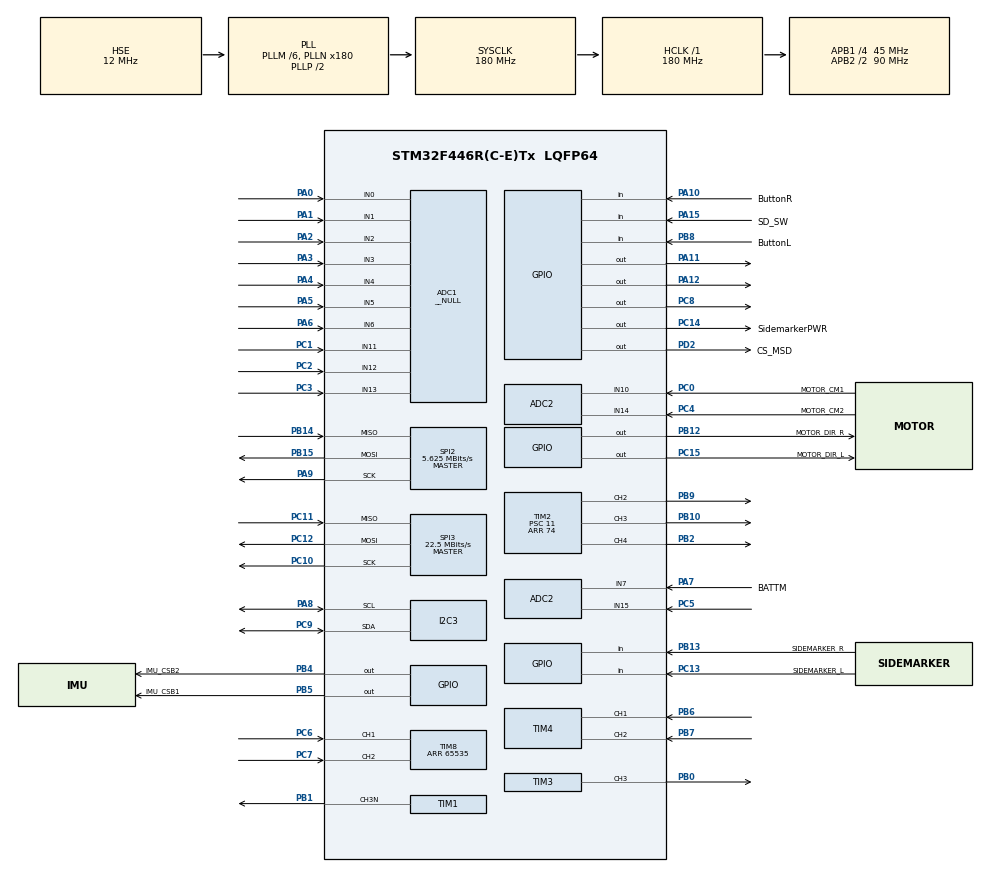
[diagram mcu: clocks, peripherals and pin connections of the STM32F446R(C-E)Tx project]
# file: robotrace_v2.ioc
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ADC1.Channel-0\#ChannelRegularConversion=ADC_CHANNEL_1
ADC1.Channel-1\#ChannelRegularConversion=ADC_CHANNEL_0
ADC1.Channel-10\#ChannelRegularConversion=ADC_CHANNEL_VREFINT
ADC1.Channel-2\#ChannelRegularConversion=ADC_CHANNEL_13
ADC1.Channel-3\#ChannelRegularConversion=ADC_CHANNEL_12
ADC1.Channel-4\#ChannelRegularConversion=ADC_CHANNEL_11
ADC1.Channel-5\#ChannelRegularConversion=ADC_CHANNEL_6
ADC1.Channel-6\#ChannelRegularConversion=ADC_CHANNEL_5
ADC1.Channel-7\#ChannelRegularConversion=ADC_CHANNEL_4
ADC1.Channel-8\#ChannelRegularConversion=ADC_CHANNEL_3
ADC1.Channel-9\#ChannelRegularConversion=ADC_CHANNEL_2
ADC1.ContinuousConvMode=DISABLE
ADC1.DMAContinuousRequests=ENABLE
ADC1.DiscontinuousConvMode=DISABLE
ADC1.EOCSelection=ADC_EOC_SEQ_CONV
ADC1.ExternalTrigConv=ADC_SOFTWARE_START
ADC1.InjNumberOfConversion=0
ADC1.Mode=__NULL
ADC1.NbrOfConversion=11
ADC1.NbrOfConversionFlag=1
ADC1.Rank-0\#ChannelRegularConversion=1
ADC1.Rank-1\#ChannelRegularConversion=2
ADC1.Rank-10\#ChannelRegularConversion=11
ADC1.Rank-2\#ChannelRegularConversion=3
ADC1.Rank-3\#ChannelRegularConversion=4
ADC1.Rank-4\#ChannelRegularConversion=5
ADC1.Rank-5\#ChannelRegularConversion=6
ADC1.Rank-6\#ChannelRegularConversion=7
ADC1.Rank-7\#ChannelRegularConversion=8
ADC1.Rank-8\#ChannelRegularConversion=9
ADC1.Rank-9\#ChannelRegularConversion=10
ADC1.SamplingTime-0\#ChannelRegularConversion=ADC_SAMPLETIME_15CYCLES
ADC1.SamplingTime-1\#ChannelRegularConversion=ADC_SAMPLETIME_15CYCLES
ADC1.SamplingTime-10\#ChannelRegularConversion=ADC_SAMPLETIME_480CYCLES
ADC1.SamplingTime-2\#ChannelRegularConversion=ADC_SAMPLETIME_15CYCLES
ADC1.SamplingTime-3\#ChannelRegularConversion=ADC_SAMPLETIME_15CYCLES
ADC1.SamplingTime-4\#ChannelRegularConversion=ADC_SAMPLETIME_15CYCLES
ADC1.SamplingTime-5\#ChannelRegularConversion=ADC_SAMPLETIME_15CYCLES
ADC1.SamplingTime-6\#ChannelRegularConversion=ADC_SAMPLETIME_15CYCLES
ADC1.SamplingTime-7\#ChannelRegularConversion=ADC_SAMPLETIME_15CYCLES
ADC1.SamplingTime-8\#ChannelRegularConversion=ADC_SAMPLETIME_15CYCLES
ADC1.SamplingTime-9\#ChannelRegularConversion=ADC_SAMPLETIME_15CYCLES
ADC1.ScanConvMode=ENABLE
ADC1.master=1
ADC2.Channel-0\#ChannelRegularConversion=ADC_CHANNEL_10
ADC2.Channel-1\#ChannelRegularConversion=ADC_CHANNEL_14
ADC2.Channel-2\#ChannelRegularConversion=ADC_CHANNEL_7
ADC2.Channel-3\#ChannelRegularConversion=ADC_CHANNEL_15
ADC2.ContinuousConvMode=ENABLE
ADC2.DMAContinuousRequests=ENABLE
ADC2.NbrOfConversion=4
ADC2.NbrOfConversionFlag=1
ADC2.Rank-0\#ChannelRegularConversion=1
ADC2.Rank-1\#ChannelRegularConversion=2
ADC2.Rank-2\#ChannelRegularConversion=3
ADC2.Rank-3\#ChannelRegularConversion=4
ADC2.SamplingTime-0\#ChannelRegularConversion=ADC_SAMPLETIME_480CYCLES
ADC2.SamplingTime-1\#ChannelRegularConversion=ADC_SAMPLETIME_480CYCLES
ADC2.SamplingTime-2\#ChannelRegularConversion=ADC_SAMPLETIME_480CYCLES
ADC2.SamplingTime-3\#ChannelRegularConversion=ADC_SAMPLETIME_480CYCLES
ADC2.ScanConvMode=ENABLE
Dma.ADC1.2.Direction=DMA_PERIPH_TO_MEMORY
Dma.ADC1.2.FIFOMode=DMA_FIFOMODE_DISABLE
Dma.ADC1.2.Instance=DMA2_Stream0
Dma.ADC1.2.MemDataAlignment=DMA_MDATAALIGN_HALFWORD
Dma.ADC1.2.MemInc=DMA_MINC_ENABLE
Dma.ADC1.2.Mode=DMA_NORMAL
Dma.ADC1.2.PeriphDataAlignment=DMA_PDATAALIGN_HALFWORD
Dma.ADC1.2.PeriphInc=DMA_PINC_DISABLE
Dma.ADC1.2.Priority=DMA_PRIORITY_HIGH
Dma.ADC2.0.Direction=DMA_PERIPH_TO_MEMORY
Dma.ADC2.0.FIFOMode=DMA_FIFOMODE_DISABLE
Dma.ADC2.0.Instance=DMA2_Stream2
Dma.ADC2.0.MemDataAlignment=DMA_MDATAALIGN_HALFWORD
Dma.ADC2.0.MemInc=DMA_MINC_ENABLE
Dma.ADC2.0.Mode=DMA_CIRCULAR
Dma.ADC2.0.PeriphDataAlignment=DMA_PDATAALIGN_HALFWORD
Dma.ADC2.0.PeriphInc=DMA_PINC_DISABLE
Dma.ADC2.0.Priority=DMA_PRIORITY_MEDIUM
Dma.I2C3_TX.5.Direction=DMA_MEMORY_TO_PERIPH
Dma.I2C3_TX.5.FIFOMode=DMA_FIFOMODE_DISABLE
Dma.I2C3_TX.5.Instance=DMA1_Stream4
Dma.I2C3_TX.5.MemDataAlignment=DMA_MDATAALIGN_BYTE
Dma.I2C3_TX.5.MemInc=DMA_MINC_ENABLE
Dma.I2C3_TX.5.Mode=DMA_NORMAL
Dma.I2C3_TX.5.PeriphDataAlignment=DMA_PDATAALIGN_BYTE
Dma.I2C3_TX.5.PeriphInc=DMA_PINC_DISABLE
Dma.I2C3_TX.5.Priority=DMA_PRIORITY_LOW
Dma.Request0=ADC2
Dma.Request1=TIM1_CH3
Dma.Request2=ADC1
Dma.Request3=SPI3_RX
Dma.Request4=SPI3_TX
Dma.Request5=I2C3_TX
Dma.SPI3_RX.3.Direction=DMA_PERIPH_TO_MEMORY
Dma.SPI3_RX.3.FIFOMode=DMA_FIFOMODE_DISABLE
Dma.SPI3_RX.3.Instance=DMA1_Stream0
Dma.SPI3_RX.3.MemDataAlignment=DMA_MDATAALIGN_BYTE
Dma.SPI3_RX.3.MemInc=DMA_MINC_ENABLE
Dma.SPI3_RX.3.Mode=DMA_NORMAL
Dma.SPI3_RX.3.PeriphDataAlignment=DMA_PDATAALIGN_BYTE
Dma.SPI3_RX.3.PeriphInc=DMA_PINC_DISABLE
Dma.SPI3_RX.3.Priority=DMA_PRIORITY_LOW
Dma.SPI3_TX.4.Direction=DMA_MEMORY_TO_PERIPH
Dma.SPI3_TX.4.FIFOMode=DMA_FIFOMODE_DISABLE
Dma.SPI3_TX.4.Instance=DMA1_Stream5
Dma.SPI3_TX.4.MemDataAlignment=DMA_MDATAALIGN_BYTE
Dma.SPI3_TX.4.MemInc=DMA_MINC_ENABLE
Dma.SPI3_TX.4.Mode=DMA_NORMAL
Dma.SPI3_TX.4.PeriphDataAlignment=DMA_PDATAALIGN_BYTE
Dma.SPI3_TX.4.PeriphInc=DMA_PINC_DISABLE
Dma.SPI3_TX.4.Priority=DMA_PRIORITY_LOW
Dma.TIM1_CH3.1.Direction=DMA_MEMORY_TO_PERIPH
Dma.TIM1_CH3.1.FIFOMode=DMA_FIFOMODE_DISABLE
Dma.TIM1_CH3.1.Instance=DMA2_Stream6
Dma.TIM1_CH3.1.MemDataAlignment=DMA_MDATAALIGN_HALFWORD
Dma.TIM1_CH3.1.MemInc=DMA_MINC_ENABLE
Dma.TIM1_CH3.1.Mode=DMA_CIRCULAR
Dma.TIM1_CH3.1.PeriphDataAlignment=DMA_PDATAALIGN_HALFWORD
Dma.TIM1_CH3.1.PeriphInc=DMA_PINC_DISABLE
Dma.TIM1_CH3.1.Priority=DMA_PRIORITY_LOW
FATFS._FS_EXFAT=1
FATFS._FS_LOCK=255
FATFS._FS_RPATH=1
FATFS._MAX_SS=4096
FATFS._USE_LABEL=1
FATFS._USE_LFN=3
Mcu.Family=STM32F4
Mcu.Name=STM32F446R(C-E)Tx
Mcu.Package=LQFP64
NVIC.DMA1_Stream0_IRQn=true\:5\:0\:true\:false\:true\:false\:true\:true
NVIC.DMA1_Stream4_IRQn=true\:15\:0\:true\:false\:true\:false\:true\:true
NVIC.DMA1_Stream5_IRQn=true\:5\:0\:true\:false\:true\:false\:true\:true
NVIC.DMA2_Stream0_IRQn=true\:2\:0\:true\:false\:true\:false\:true\:true
NVIC.DMA2_Stream2_IRQn=true\:2\:0\:true\:false\:true\:false\:true\:true
NVIC.DMA2_Stream6_IRQn=true\:15\:0\:true\:false\:true\:false\:true\:true
NVIC.I2C3_EV_IRQn=true\:15\:0\:true\:false\:true\:true\:true\:true
NVIC.PriorityGroup=NVIC_PRIORITYGROUP_4
NVIC.TIM3_IRQn=true\:1\:0\:true\:false\:true\:true\:true\:true
NVIC.TIM6_DAC_IRQn=true\:0\:0\:true\:false\:true\:true\:true\:true
NVIC.TIM7_IRQn=true\:10\:0\:true\:false\:true\:true\:true\:true
PA0-WKUP.Signal=ADCx_IN0
PA1.Signal=ADCx_IN1
PA10.GPIO_Label=ButtonR
PA10.GPIO_PuPd=GPIO_PULLUP
PA10.Signal=GPIO_Input
PA11.PinState=GPIO_PIN_SET
PA11.Signal=GPIO_Output
PA12.PinState=GPIO_PIN_SET
PA12.Signal=GPIO_Output
PA13.Mode=Trace_Asynchronous_SW
PA13.Signal=SYS_JTMS-SWDIO
PA14.Mode=Trace_Asynchronous_SW
PA14.Signal=SYS_JTCK-SWCLK
PA15.GPIO_Label=SD_SW
PA15.GPIO_PuPd=GPIO_PULLDOWN
PA15.Signal=GPIO_Input
PA2.Signal=ADCx_IN2
PA3.Signal=ADCx_IN3
PA4.Signal=ADCx_IN4
PA5.Signal=ADCx_IN5
PA6.Signal=ADCx_IN6
PA7.GPIO_Label=BATTM
PA7.Signal=ADCx_IN7
PA8.Mode=I2C
PA8.Signal=I2C3_SCL
PA9.Mode=Full_Duplex_Master
PA9.Signal=SPI2_SCK
PB0.Signal=S_TIM3_CH3
PB1.GPIO_PuPd=GPIO_PULLDOWN
PB1.GPIO_Speed=GPIO_SPEED_FREQ_HIGH
PB1.Mode=PWM Generation3 CH3N
PB1.Signal=TIM1_CH3N
PB10.Signal=S_TIM2_CH3
PB12.GPIO_Label=MOTOR_DIR_R
PB12.Signal=GPIO_Output
PB13.GPIO_Label=SIDEMARKER_R
PB13.Signal=GPIO_Input
PB14.Mode=Full_Duplex_Master
PB14.Signal=SPI2_MISO
PB15.Mode=Full_Duplex_Master
PB15.Signal=SPI2_MOSI
PB2.Signal=S_TIM2_CH4
PB3.Mode=Trace_Asynchronous_SW
PB3.Signal=SYS_JTDO-SWO
PB4.GPIO_Label=IMU_CSB2
PB4.GPIO_PuPd=GPIO_PULLUP
PB4.GPIO_Speed=GPIO_SPEED_FREQ_VERY_HIGH
PB4.PinState=GPIO_PIN_SET
PB4.Signal=GPIO_Output
PB5.GPIO_Label=IMU_CSB1
PB5.GPIO_PuPd=GPIO_PULLUP
PB5.GPIO_Speed=GPIO_SPEED_FREQ_VERY_HIGH
PB5.PinState=GPIO_PIN_SET
PB5.Signal=GPIO_Output
PB6.Signal=S_TIM4_CH1
PB7.Signal=S_TIM4_CH2
PB8.GPIO_Label=ButtonL
PB8.GPIO_PuPd=GPIO_PULLUP
PB8.Signal=GPIO_Input
PB9.Signal=S_TIM2_CH2
PC0.GPIO_Label=MOTOR_CM1
PC0.Signal=ADCx_IN10
PC1.Signal=ADCx_IN11
PC10.Mode=Full_Duplex_Master
PC10.Signal=SPI3_SCK
PC11.Mode=Full_Duplex_Master
PC11.Signal=SPI3_MISO
PC12.Mode=Full_Duplex_Master
PC12.Signal=SPI3_MOSI
PC13.GPIO_Label=SIDEMARKER_L
PC13.Signal=GPIO_Input
PC14-OSC32_IN.GPIO_Label=SidemarkerPWR
PC14-OSC32_IN.PinState=GPIO_PIN_SET
PC14-OSC32_IN.Signal=GPIO_Output
PC15-OSC32_OUT.GPIO_Label=MOTOR_DIR_L
PC15-OSC32_OUT.Signal=GPIO_Output
PC2.Signal=ADCx_IN12
PC3.Signal=ADCx_IN13
PC4.GPIO_Label=MOTOR_CM2
PC4.Signal=ADCx_IN14
PC5.Signal=ADCx_IN15
PC6.Signal=S_TIM8_CH1
PC7.Signal=S_TIM8_CH2
PC8.Signal=GPIO_Output
PC9.Mode=I2C
PC9.Signal=I2C3_SDA
PD2.GPIO_Label=CS_MSD
PD2.GPIO_Speed=GPIO_SPEED_FREQ_VERY_HIGH
PD2.PinState=GPIO_PIN_SET
PD2.Signal=GPIO_Output
PH0-OSC_IN.Mode=HSE-External-Oscillator
PH0-OSC_IN.Signal=RCC_OSC_IN
PH1-OSC_OUT.Mode=HSE-External-Oscillator
PH1-OSC_OUT.Signal=RCC_OSC_OUT
ProjectManager.HeapSize=0x200
ProjectManager.StackSize=0x400
ProjectManager.TargetToolchain=CMake
RCC.AHBFreq_Value=180000000
RCC.APB1CLKDivider=RCC_HCLK_DIV4
RCC.APB1Freq_Value=45000000
RCC.APB1TimFreq_Value=90000000
RCC.APB2CLKDivider=RCC_HCLK_DIV2
RCC.APB2Freq_Value=90000000
RCC.APB2TimFreq_Value=180000000
RCC.CortexFreq_Value=180000000
RCC.HCLKFreq_Value=180000000
RCC.HSE_VALUE=12000000
RCC.PLLM=6
RCC.PLLN=180
RCC.PLLSourceVirtual=RCC_PLLSOURCE_HSE
RCC.SYSCLKFreq_VALUE=180000000
RCC.SYSCLKSource=RCC_SYSCLKSOURCE_PLLCLK
RCC.USBFreq_Value=180000000
RCC.VCOOutputFreq_Value=360000000
SH.ADCx_IN0.0=ADC1_IN0,IN0
SH.ADCx_IN1.0=ADC1_IN1,IN1
SH.ADCx_IN10.0=ADC2_IN10,IN10
SH.ADCx_IN11.0=ADC1_IN11,IN11
SH.ADCx_IN12.0=ADC1_IN12,IN12
SH.ADCx_IN13.0=ADC1_IN13,IN13
SH.ADCx_IN14.0=ADC2_IN14,IN14
SH.ADCx_IN15.0=ADC2_IN15,IN15
SH.ADCx_IN2.0=ADC1_IN2,IN2
SH.ADCx_IN3.0=ADC1_IN3,IN3
SH.ADCx_IN4.0=ADC1_IN4,IN4
SH.ADCx_IN5.0=ADC1_IN5,IN5
SH.ADCx_IN6.0=ADC1_IN6,IN6
SH.ADCx_IN7.0=ADC2_IN7,IN7
SH.S_TIM2_CH2.0=TIM2_CH2,PWM Generation2 CH2
SH.S_TIM2_CH3.0=TIM2_CH3,PWM Generation3 CH3
SH.S_TIM2_CH4.0=TIM2_CH4,PWM Generation4 CH4
SH.S_TIM3_CH3.0=TIM3_CH3,PWM Generation3 CH3
SH.S_TIM4_CH1.0=TIM4_CH1,Encoder_Interface
SH.S_TIM4_CH2.0=TIM4_CH2,Encoder_Interface
SH.S_TIM8_CH1.0=TIM8_CH1,Encoder_Interface
SH.S_TIM8_CH2.0=TIM8_CH2,Encoder_Interface
SPI2.BaudRatePrescaler=SPI_BAUDRATEPRESCALER_8
SPI2.CLKPhase=SPI_PHASE_1EDGE
SPI2.CLKPolarity=SPI_POLARITY_LOW
SPI2.CalculateBaudRate=5.625 MBits/s
SPI2.Direction=SPI_DIRECTION_2LINES
SPI2.Mode=SPI_MODE_MASTER
SPI2.VirtualType=VM_MASTER
SPI3.CalculateBaudRate=22.5 MBits/s
SPI3.Direction=SPI_DIRECTION_2LINES
SPI3.Mode=SPI_MODE_MASTER
SPI3.VirtualType=VM_MASTER
TIM1.AutoReloadPreload=TIM_AUTORELOAD_PRELOAD_DISABLE
TIM1.Channel-PWM\ Generation3\ CH3N=TIM_CHANNEL_3
TIM1.OC3Preload_PWM=ENABLE
TIM1.OCFastMode_PWM-PWM\ Generation3\ CH3N=TIM_OCFAST_DISABLE
TIM1.OCMode_PWM-PWM\ Generation3\ CH3N=TIM_OCMODE_PWM1
TIM1.OCNIdleState_3=TIM_OCNIDLESTATE_SET
TIM1.OCNPolarity_3=TIM_OCNPOLARITY_HIGH
TIM1.Period=224
TIM1.Prescaler=0
TIM1.TIM_MasterOutputTrigger=TIM_TRGO_RESET
TIM1.TIM_MasterSlaveMode=TIM_MASTERSLAVEMODE_DISABLE
TIM13.Period=1124
TIM13.Prescaler=11
TIM2.Channel-PWM\ Generation2\ CH2=TIM_CHANNEL_2
TIM2.Channel-PWM\ Generation3\ CH3=TIM_CHANNEL_3
TIM2.Channel-PWM\ Generation4\ CH4=TIM_CHANNEL_4
TIM2.Period=74
TIM2.Prescaler=11
TIM3.Channel-Output\ Compare1\ No\ Output=TIM_CHANNEL_1
TIM3.Channel-PWM\ Generation3\ CH3=TIM_CHANNEL_3
TIM3.Period=3749
TIM3.Prescaler=11
TIM4.EncoderMode=TIM_ENCODERMODE_TI12
TIM6.AutoReloadPreload=TIM_AUTORELOAD_PRELOAD_ENABLE
TIM6.Period=7499
TIM6.Prescaler=11
TIM7.Period=3749
TIM7.Prescaler=11
TIM8.EncoderMode=TIM_ENCODERMODE_TI12
TIM8.Period=65535
VP_ADC1_Vref_Input.Mode=IN-Vrefint
VP_FATFS_VS_Generic.Mode=User_defined
VP_TIM13_VS_ClockSourceINT.Mode=Enable_Timer
VP_TIM3_VS_no_output1.Mode=Output Compare1 No Output
VP_TIM6_VS_ClockSourceINT.Mode=Enable_Timer
VP_TIM7_VS_ClockSourceINT.Mode=Enable_Timer
board=custom

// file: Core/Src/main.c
/* USER CODE BEGIN Header */
/**
 ******************************************************************************
 * @file           : main.c
 * @brief          : Main program body
 ******************************************************************************
 * @attention
 *
 * Copyright (c) 2023 STMicroelectronics.
 * All rights reserved.
 *
 * This software is licensed under terms that can be found in the LICENSE file
 * in the root directory of this software component.
 * If no LICENSE file comes with this software, it is provided AS-IS.
 *
 ******************************************************************************
 */
/* USER CODE END Header */
#include "main.h"
#include "fatfs.h"

ADC_HandleTypeDef hadc1;
ADC_HandleTypeDef hadc2;
DMA_HandleTypeDef hdma_adc1;
DMA_HandleTypeDef hdma_adc2;

I2C_HandleTypeDef hi2c3;
DMA_HandleTypeDef hdma_i2c3_tx;

SPI_HandleTypeDef hspi2;
SPI_HandleTypeDef hspi3;
DMA_HandleTypeDef hdma_spi3_rx;
DMA_HandleTypeDef hdma_spi3_tx;

TIM_HandleTypeDef htim1;
TIM_HandleTypeDef htim2;
TIM_HandleTypeDef htim3;
TIM_HandleTypeDef htim4;
TIM_HandleTypeDef htim6;
TIM_HandleTypeDef htim7;
TIM_HandleTypeDef htim8;
TIM_HandleTypeDef htim13;
DMA_HandleTypeDef hdma_tim1_ch3;

void SystemClock_Config(void);
static void MX_GPIO_Init(void);
static void MX_DMA_Init(void);
static void MX_ADC1_Init(void);
static void MX_TIM6_Init(void);
static void MX_SPI3_Init(void);
static void MX_TIM3_Init(void);
static void MX_TIM2_Init(void);
static void MX_TIM8_Init(void);
static void MX_TIM13_Init(void);
static void MX_TIM7_Init(void);
static void MX_ADC2_Init(void);
static void MX_SPI2_Init(void);
static void MX_TIM1_Init(void);
static void MX_TIM4_Init(void);
static void MX_I2C3_Init(void);
/* USER CODE BEGIN PFP */
uint8_t bufr[80];
UINT br;
/* USER CODE END PFP */

int main(void)
{

  /* MCU Configuration--------------------------------------------------------*/

  /* Reset of all peripherals, Initializes the Flash interface and the Systick. */
  HAL_Init();

  /* Configure the system clock */
  SystemClock_Config();

  /* Initialize all configured peripherals */
  MX_GPIO_Init();
  MX_DMA_Init();
  MX_ADC1_Init();
  MX_TIM6_Init();
  MX_SPI3_Init();
  MX_TIM3_Init();
  MX_TIM2_Init();
  MX_TIM8_Init();
  MX_TIM13_Init();
  MX_TIM7_Init();
  MX_ADC2_Init();
  MX_SPI2_Init();
  MX_TIM1_Init();
  MX_TIM4_Init();
  MX_I2C3_Init();
  /* USER CODE BEGIN 2 */
	initSystem();
  /* USER CODE END 2 */

  /* Infinite loop */
  /* USER CODE BEGIN WHILE */
	while (1)
	{
		loopSystem();
    /* USER CODE END WHILE */

	}
}

void SystemClock_Config(void)
{
  RCC_OscInitTypeDef RCC_OscInitStruct = {0};
  RCC_ClkInitTypeDef RCC_ClkInitStruct = {0};

  /** Configure the main internal regulator output voltage
  */
  __HAL_RCC_PWR_CLK_ENABLE();
  __HAL_PWR_VOLTAGESCALING_CONFIG(PWR_REGULATOR_VOLTAGE_SCALE1);

  /** Initializes the RCC Oscillators according to the specified parameters
  * in the RCC_OscInitTypeDef structure.
  */
  RCC_OscInitStruct.OscillatorType = RCC_OSCILLATORTYPE_HSE;
  RCC_OscInitStruct.HSEState = RCC_HSE_ON;
  RCC_OscInitStruct.PLL.PLLState = RCC_PLL_ON;
  RCC_OscInitStruct.PLL.PLLSource = RCC_PLLSOURCE_HSE;
  RCC_OscInitStruct.PLL.PLLM = 6;
  RCC_OscInitStruct.PLL.PLLN = 180;
  RCC_OscInitStruct.PLL.PLLP = RCC_PLLP_DIV2;
  RCC_OscInitStruct.PLL.PLLQ = 2;
  RCC_OscInitStruct.PLL.PLLR = 2;
  if (HAL_RCC_OscConfig(&RCC_OscInitStruct) != HAL_OK)
  {
    Error_Handler();
  }

  /** Activate the Over-Drive mode
  */
  if (HAL_PWREx_EnableOverDrive() != HAL_OK)
  {
    Error_Handler();
  }

  /** Initializes the CPU, AHB and APB buses clocks
  */
  RCC_ClkInitStruct.ClockType = RCC_CLOCKTYPE_HCLK|RCC_CLOCKTYPE_SYSCLK
                              |RCC_CLOCKTYPE_PCLK1|RCC_CLOCKTYPE_PCLK2;
  RCC_ClkInitStruct.SYSCLKSource = RCC_SYSCLKSOURCE_PLLCLK;
  RCC_ClkInitStruct.AHBCLKDivider = RCC_SYSCLK_DIV1;
  RCC_ClkInitStruct.APB1CLKDivider = RCC_HCLK_DIV4;
  RCC_ClkInitStruct.APB2CLKDivider = RCC_HCLK_DIV2;

  if (HAL_RCC_ClockConfig(&RCC_ClkInitStruct, FLASH_LATENCY_5) != HAL_OK)
  {
    Error_Handler();
  }
}

static void MX_ADC1_Init(void)
{

  ADC_ChannelConfTypeDef sConfig = {0};

  /** Configure the global features of the ADC (Clock, Resolution, Data Alignment and number of conversion)
  */
  hadc1.Instance = ADC1;
  hadc1.Init.ClockPrescaler = ADC_CLOCK_SYNC_PCLK_DIV4;
  hadc1.Init.Resolution = ADC_RESOLUTION_12B;
  hadc1.Init.ScanConvMode = ENABLE;
  hadc1.Init.ContinuousConvMode = DISABLE;
  hadc1.Init.DiscontinuousConvMode = DISABLE;
  hadc1.Init.ExternalTrigConvEdge = ADC_EXTERNALTRIGCONVEDGE_NONE;
  hadc1.Init.ExternalTrigConv = ADC_SOFTWARE_START;
  hadc1.Init.DataAlign = ADC_DATAALIGN_RIGHT;
  hadc1.Init.NbrOfConversion = 11;
  hadc1.Init.DMAContinuousRequests = ENABLE;
  hadc1.Init.EOCSelection = ADC_EOC_SEQ_CONV;
  if (HAL_ADC_Init(&hadc1) != HAL_OK)
  {
    Error_Handler();
  }

  /** Configure for the selected ADC regular channel its corresponding rank in the sequencer and its sample time.
  */
  sConfig.Channel = ADC_CHANNEL_1;
  sConfig.Rank = 1;
  sConfig.SamplingTime = ADC_SAMPLETIME_15CYCLES;
  if (HAL_ADC_ConfigChannel(&hadc1, &sConfig) != HAL_OK)
  {
    Error_Handler();
  }

  /** Configure for the selected ADC regular channel its corresponding rank in the sequencer and its sample time.
  */
  sConfig.Channel = ADC_CHANNEL_0;
  sConfig.Rank = 2;
  if (HAL_ADC_ConfigChannel(&hadc1, &sConfig) != HAL_OK)
  {
    Error_Handler();
  }

  /** Configure for the selected ADC regular channel its corresponding rank in the sequencer and its sample time.
  */
  sConfig.Channel = ADC_CHANNEL_13;
  sConfig.Rank = 3;
  if (HAL_ADC_ConfigChannel(&hadc1, &sConfig) != HAL_OK)
  {
    Error_Handler();
  }

  /** Configure for the selected ADC regular channel its corresponding rank in the sequencer and its sample time.
  */
  sConfig.Channel = ADC_CHANNEL_12;
  sConfig.Rank = 4;
  if (HAL_ADC_ConfigChannel(&hadc1, &sConfig) != HAL_OK)
  {
    Error_Handler();
  }

  /** Configure for the selected ADC regular channel its corresponding rank in the sequencer and its sample time.
  */
  sConfig.Channel = ADC_CHANNEL_11;
  sConfig.Rank = 5;
  if (HAL_ADC_ConfigChannel(&hadc1, &sConfig) != HAL_OK)
  {
    Error_Handler();
  }

  /** Configure for the selected ADC regular channel its corresponding rank in the sequencer and its sample time.
  */
  sConfig.Channel = ADC_CHANNEL_6;
  sConfig.Rank = 6;
  if (HAL_ADC_ConfigChannel(&hadc1, &sConfig) != HAL_OK)
  {
    Error_Handler();
  }

  /** Configure for the selected ADC regular channel its corresponding rank in the sequencer and its sample time.
  */
  sConfig.Channel = ADC_CHANNEL_5;
  sConfig.Rank = 7;
  if (HAL_ADC_ConfigChannel(&hadc1, &sConfig) != HAL_OK)
  {
    Error_Handler();
  }

  /** Configure for the selected ADC regular channel its corresponding rank in the sequencer and its sample time.
  */
  sConfig.Channel = ADC_CHANNEL_4;
  sConfig.Rank = 8;
  if (HAL_ADC_ConfigChannel(&hadc1, &sConfig) != HAL_OK)
  {
    Error_Handler();
  }

  /** Configure for the selected ADC regular channel its corresponding rank in the sequencer and its sample time.
  */
  sConfig.Channel = ADC_CHANNEL_3;
  sConfig.Rank = 9;
  if (HAL_ADC_ConfigChannel(&hadc1, &sConfig) != HAL_OK)
  {
    Error_Handler();
  }

  /** Configure for the selected ADC regular channel its corresponding rank in the sequencer and its sample time.
  */
  sConfig.Channel = ADC_CHANNEL_2;
  sConfig.Rank = 10;
  if (HAL_ADC_ConfigChannel(&hadc1, &sConfig) != HAL_OK)
  {
    Error_Handler();
  }

  /** Configure for the selected ADC regular channel its corresponding rank in the sequencer and its sample time.
  */
  sConfig.Channel = ADC_CHANNEL_VREFINT;
  sConfig.Rank = 11;
  sConfig.SamplingTime = ADC_SAMPLETIME_480CYCLES;
  if (HAL_ADC_ConfigChannel(&hadc1, &sConfig) != HAL_OK)
  {
    Error_Handler();
  }

}

static void MX_ADC2_Init(void)
{

  ADC_ChannelConfTypeDef sConfig = {0};

  /** Configure the global features of the ADC (Clock, Resolution, Data Alignment and number of conversion)
  */
  hadc2.Instance = ADC2;
  hadc2.Init.ClockPrescaler = ADC_CLOCK_SYNC_PCLK_DIV4;
  hadc2.Init.Resolution = ADC_RESOLUTION_12B;
  hadc2.Init.ScanConvMode = ENABLE;
  hadc2.Init.ContinuousConvMode = ENABLE;
  hadc2.Init.DiscontinuousConvMode = DISABLE;
  hadc2.Init.ExternalTrigConvEdge = ADC_EXTERNALTRIGCONVEDGE_NONE;
  hadc2.Init.ExternalTrigConv = ADC_SOFTWARE_START;
  hadc2.Init.DataAlign = ADC_DATAALIGN_RIGHT;
  hadc2.Init.NbrOfConversion = 4;
  hadc2.Init.DMAContinuousRequests = ENABLE;
  hadc2.Init.EOCSelection = ADC_EOC_SINGLE_CONV;
  if (HAL_ADC_Init(&hadc2) != HAL_OK)
  {
    Error_Handler();
  }

  /** Configure for the selected ADC regular channel its corresponding rank in the sequencer and its sample time.
  */
  sConfig.Channel = ADC_CHANNEL_10;
  sConfig.Rank = 1;
  sConfig.SamplingTime = ADC_SAMPLETIME_480CYCLES;
  if (HAL_ADC_ConfigChannel(&hadc2, &sConfig) != HAL_OK)
  {
    Error_Handler();
  }

  /** Configure for the selected ADC regular channel its corresponding rank in the sequencer and its sample time.
  */
  sConfig.Channel = ADC_CHANNEL_14;
  sConfig.Rank = 2;
  if (HAL_ADC_ConfigChannel(&hadc2, &sConfig) != HAL_OK)
  {
    Error_Handler();
  }

  /** Configure for the selected ADC regular channel its corresponding rank in the sequencer and its sample time.
  */
  sConfig.Channel = ADC_CHANNEL_7;
  sConfig.Rank = 3;
  if (HAL_ADC_ConfigChannel(&hadc2, &sConfig) != HAL_OK)
  {
    Error_Handler();
  }

  /** Configure for the selected ADC regular channel its corresponding rank in the sequencer and its sample time.
  */
  sConfig.Channel = ADC_CHANNEL_15;
  sConfig.Rank = 4;
  if (HAL_ADC_ConfigChannel(&hadc2, &sConfig) != HAL_OK)
  {
    Error_Handler();
  }

}

static void MX_I2C3_Init(void)
{

  hi2c3.Instance = I2C3;
  hi2c3.Init.ClockSpeed = 100000;
  hi2c3.Init.DutyCycle = I2C_DUTYCYCLE_2;
  hi2c3.Init.OwnAddress1 = 0;
  hi2c3.Init.AddressingMode = I2C_ADDRESSINGMODE_7BIT;
  hi2c3.Init.DualAddressMode = I2C_DUALADDRESS_DISABLE;
  hi2c3.Init.OwnAddress2 = 0;
  hi2c3.Init.GeneralCallMode = I2C_GENERALCALL_DISABLE;
  hi2c3.Init.NoStretchMode = I2C_NOSTRETCH_DISABLE;
  if (HAL_I2C_Init(&hi2c3) != HAL_OK)
  {
    Error_Handler();
  }

}

static void MX_SPI2_Init(void)
{

  /* SPI2 parameter configuration*/
  hspi2.Instance = SPI2;
  hspi2.Init.Mode = SPI_MODE_MASTER;
  hspi2.Init.Direction = SPI_DIRECTION_2LINES;
  hspi2.Init.DataSize = SPI_DATASIZE_8BIT;
  hspi2.Init.CLKPolarity = SPI_POLARITY_LOW;
  hspi2.Init.CLKPhase = SPI_PHASE_1EDGE;
  hspi2.Init.NSS = SPI_NSS_SOFT;
  hspi2.Init.BaudRatePrescaler = SPI_BAUDRATEPRESCALER_8;
  hspi2.Init.FirstBit = SPI_FIRSTBIT_MSB;
  hspi2.Init.TIMode = SPI_TIMODE_DISABLE;
  hspi2.Init.CRCCalculation = SPI_CRCCALCULATION_DISABLE;
  hspi2.Init.CRCPolynomial = 10;
  if (HAL_SPI_Init(&hspi2) != HAL_OK)
  {
    Error_Handler();
  }

}

static void MX_SPI3_Init(void)
{

  /* SPI3 parameter configuration*/
  hspi3.Instance = SPI3;
  hspi3.Init.Mode = SPI_MODE_MASTER;
  hspi3.Init.Direction = SPI_DIRECTION_2LINES;
  hspi3.Init.DataSize = SPI_DATASIZE_8BIT;
  hspi3.Init.CLKPolarity = SPI_POLARITY_LOW;
  hspi3.Init.CLKPhase = SPI_PHASE_1EDGE;
  hspi3.Init.NSS = SPI_NSS_SOFT;
  hspi3.Init.BaudRatePrescaler = SPI_BAUDRATEPRESCALER_2;
  hspi3.Init.FirstBit = SPI_FIRSTBIT_MSB;
  hspi3.Init.TIMode = SPI_TIMODE_DISABLE;
  hspi3.Init.CRCCalculation = SPI_CRCCALCULATION_DISABLE;
  hspi3.Init.CRCPolynomial = 10;
  if (HAL_SPI_Init(&hspi3) != HAL_OK)
  {
    Error_Handler();
  }

}

static void MX_TIM1_Init(void)
{

  TIM_MasterConfigTypeDef sMasterConfig = {0};
  TIM_OC_InitTypeDef sConfigOC = {0};
  TIM_BreakDeadTimeConfigTypeDef sBreakDeadTimeConfig = {0};

  htim1.Instance = TIM1;
  htim1.Init.Prescaler = 0;
  htim1.Init.CounterMode = TIM_COUNTERMODE_UP;
  htim1.Init.Period = 224;
  htim1.Init.ClockDivision = TIM_CLOCKDIVISION_DIV1;
  htim1.Init.RepetitionCounter = 0;
  htim1.Init.AutoReloadPreload = TIM_AUTORELOAD_PRELOAD_DISABLE;
  if (HAL_TIM_PWM_Init(&htim1) != HAL_OK)
  {
    Error_Handler();
  }
  sMasterConfig.MasterOutputTrigger = TIM_TRGO_RESET;
  sMasterConfig.MasterSlaveMode = TIM_MASTERSLAVEMODE_DISABLE;
  if (HAL_TIMEx_MasterConfigSynchronization(&htim1, &sMasterConfig) != HAL_OK)
  {
    Error_Handler();
  }
  sConfigOC.OCMode = TIM_OCMODE_PWM1;
  sConfigOC.Pulse = 0;
  sConfigOC.OCPolarity = TIM_OCPOLARITY_HIGH;
  sConfigOC.OCNPolarity = TIM_OCNPOLARITY_HIGH;
  sConfigOC.OCFastMode = TIM_OCFAST_DISABLE;
  sConfigOC.OCIdleState = TIM_OCIDLESTATE_RESET;
  sConfigOC.OCNIdleState = TIM_OCNIDLESTATE_SET;
  if (HAL_TIM_PWM_ConfigChannel(&htim1, &sConfigOC, TIM_CHANNEL_3) != HAL_OK)
  {
    Error_Handler();
  }
  sBreakDeadTimeConfig.OffStateRunMode = TIM_OSSR_DISABLE;
  sBreakDeadTimeConfig.OffStateIDLEMode = TIM_OSSI_DISABLE;
  sBreakDeadTimeConfig.LockLevel = TIM_LOCKLEVEL_OFF;
  sBreakDeadTimeConfig.DeadTime = 0;
  sBreakDeadTimeConfig.BreakState = TIM_BREAK_DISABLE;
  sBreakDeadTimeConfig.BreakPolarity = TIM_BREAKPOLARITY_HIGH;
  sBreakDeadTimeConfig.AutomaticOutput = TIM_AUTOMATICOUTPUT_DISABLE;
  if (HAL_TIMEx_ConfigBreakDeadTime(&htim1, &sBreakDeadTimeConfig) != HAL_OK)
  {
    Error_Handler();
  }
  HAL_TIM_MspPostInit(&htim1);

}

static void MX_TIM2_Init(void)
{

  TIM_MasterConfigTypeDef sMasterConfig = {0};
  TIM_OC_InitTypeDef sConfigOC = {0};

  htim2.Instance = TIM2;
  htim2.Init.Prescaler = 11;
  htim2.Init.CounterMode = TIM_COUNTERMODE_UP;
  htim2.Init.Period = 74;
  htim2.Init.ClockDivision = TIM_CLOCKDIVISION_DIV1;
  htim2.Init.AutoReloadPreload = TIM_AUTORELOAD_PRELOAD_DISABLE;
  if (HAL_TIM_PWM_Init(&htim2) != HAL_OK)
  {
    Error_Handler();
  }
  sMasterConfig.MasterOutputTrigger = TIM_TRGO_RESET;
  sMasterConfig.MasterSlaveMode = TIM_MASTERSLAVEMODE_DISABLE;
  if (HAL_TIMEx_MasterConfigSynchronization(&htim2, &sMasterConfig) != HAL_OK)
  {
    Error_Handler();
  }
  sConfigOC.OCMode = TIM_OCMODE_PWM1;
  sConfigOC.Pulse = 0;
  sConfigOC.OCPolarity = TIM_OCPOLARITY_HIGH;
  sConfigOC.OCFastMode = TIM_OCFAST_DISABLE;
  if (HAL_TIM_PWM_ConfigChannel(&htim2, &sConfigOC, TIM_CHANNEL_2) != HAL_OK)
  {
    Error_Handler();
  }
  if (HAL_TIM_PWM_ConfigChannel(&htim2, &sConfigOC, TIM_CHANNEL_3) != HAL_OK)
  {
    Error_Handler();
  }
  if (HAL_TIM_PWM_ConfigChannel(&htim2, &sConfigOC, TIM_CHANNEL_4) != HAL_OK)
  {
    Error_Handler();
  }
  HAL_TIM_MspPostInit(&htim2);

}

static void MX_TIM3_Init(void)
{

  TIM_MasterConfigTypeDef sMasterConfig = {0};
  TIM_OC_InitTypeDef sConfigOC = {0};

  htim3.Instance = TIM3;
  htim3.Init.Prescaler = 11;
  htim3.Init.CounterMode = TIM_COUNTERMODE_UP;
  htim3.Init.Period = 3749;
  htim3.Init.ClockDivision = TIM_CLOCKDIVISION_DIV1;
  htim3.Init.AutoReloadPreload = TIM_AUTORELOAD_PRELOAD_DISABLE;
  if (HAL_TIM_OC_Init(&htim3) != HAL_OK)
  {
    Error_Handler();
  }
  if (HAL_TIM_PWM_Init(&htim3) != HAL_OK)
  {
    Error_Handler();
  }
  sMasterConfig.MasterOutputTrigger = TIM_TRGO_RESET;
  sMasterConfig.MasterSlaveMode = TIM_MASTERSLAVEMODE_DISABLE;
  if (HAL_TIMEx_MasterConfigSynchronization(&htim3, &sMasterConfig) != HAL_OK)
  {
    Error_Handler();
  }
  sConfigOC.OCMode = TIM_OCMODE_TIMING;
  sConfigOC.Pulse = 0;
  sConfigOC.OCPolarity = TIM_OCPOLARITY_HIGH;
  sConfigOC.OCFastMode = TIM_OCFAST_DISABLE;
  if (HAL_TIM_OC_ConfigChannel(&htim3, &sConfigOC, TIM_CHANNEL_1) != HAL_OK)
  {
    Error_Handler();
  }
  sConfigOC.OCMode = TIM_OCMODE_PWM1;
  if (HAL_TIM_PWM_ConfigChannel(&htim3, &sConfigOC, TIM_CHANNEL_3) != HAL_OK)
  {
    Error_Handler();
  }
  HAL_TIM_MspPostInit(&htim3);

}

static void MX_TIM4_Init(void)
{

  TIM_Encoder_InitTypeDef sConfig = {0};
  TIM_MasterConfigTypeDef sMasterConfig = {0};

  htim4.Instance = TIM4;
  htim4.Init.Prescaler = 0;
  htim4.Init.CounterMode = TIM_COUNTERMODE_UP;
  htim4.Init.Period = 65535;
  htim4.Init.ClockDivision = TIM_CLOCKDIVISION_DIV1;
  htim4.Init.AutoReloadPreload = TIM_AUTORELOAD_PRELOAD_DISABLE;
  sConfig.EncoderMode = TIM_ENCODERMODE_TI12;
  sConfig.IC1Polarity = TIM_ICPOLARITY_RISING;
  sConfig.IC1Selection = TIM_ICSELECTION_DIRECTTI;
  sConfig.IC1Prescaler = TIM_ICPSC_DIV1;
  sConfig.IC1Filter = 0;
  sConfig.IC2Polarity = TIM_ICPOLARITY_RISING;
  sConfig.IC2Selection = TIM_ICSELECTION_DIRECTTI;
  sConfig.IC2Prescaler = TIM_ICPSC_DIV1;
  sConfig.IC2Filter = 0;
  if (HAL_TIM_Encoder_Init(&htim4, &sConfig) != HAL_OK)
  {
    Error_Handler();
  }
  sMasterConfig.MasterOutputTrigger = TIM_TRGO_RESET;
  sMasterConfig.MasterSlaveMode = TIM_MASTERSLAVEMODE_DISABLE;
  if (HAL_TIMEx_MasterConfigSynchronization(&htim4, &sMasterConfig) != HAL_OK)
  {
    Error_Handler();
  }

}

static void MX_TIM6_Init(void)
{

  TIM_MasterConfigTypeDef sMasterConfig = {0};

  htim6.Instance = TIM6;
  htim6.Init.Prescaler = 11;
  htim6.Init.CounterMode = TIM_COUNTERMODE_UP;
  htim6.Init.Period = 7499;
  htim6.Init.AutoReloadPreload = TIM_AUTORELOAD_PRELOAD_ENABLE;
  if (HAL_TIM_Base_Init(&htim6) != HAL_OK)
  {
    Error_Handler();
  }
  sMasterConfig.MasterOutputTrigger = TIM_TRGO_RESET;
  sMasterConfig.MasterSlaveMode = TIM_MASTERSLAVEMODE_DISABLE;
  if (HAL_TIMEx_MasterConfigSynchronization(&htim6, &sMasterConfig) != HAL_OK)
  {
    Error_Handler();
  }

}

static void MX_TIM7_Init(void)
{

  TIM_MasterConfigTypeDef sMasterConfig = {0};

  htim7.Instance = TIM7;
  htim7.Init.Prescaler = 11;
  htim7.Init.CounterMode = TIM_COUNTERMODE_UP;
  htim7.Init.Period = 3749;
  htim7.Init.AutoReloadPreload = TIM_AUTORELOAD_PRELOAD_DISABLE;
  if (HAL_TIM_Base_Init(&htim7) != HAL_OK)
  {
    Error_Handler();
  }
  sMasterConfig.MasterOutputTrigger = TIM_TRGO_RESET;
  sMasterConfig.MasterSlaveMode = TIM_MASTERSLAVEMODE_DISABLE;
  if (HAL_TIMEx_MasterConfigSynchronization(&htim7, &sMasterConfig) != HAL_OK)
  {
    Error_Handler();
  }

}

static void MX_TIM8_Init(void)
{

  TIM_Encoder_InitTypeDef sConfig = {0};
  TIM_MasterConfigTypeDef sMasterConfig = {0};

  htim8.Instance = TIM8;
  htim8.Init.Prescaler = 0;
  htim8.Init.CounterMode = TIM_COUNTERMODE_UP;
  htim8.Init.Period = 65535;
  htim8.Init.ClockDivision = TIM_CLOCKDIVISION_DIV1;
  htim8.Init.RepetitionCounter = 0;
  htim8.Init.AutoReloadPreload = TIM_AUTORELOAD_PRELOAD_DISABLE;
  sConfig.EncoderMode = TIM_ENCODERMODE_TI12;
  sConfig.IC1Polarity = TIM_ICPOLARITY_RISING;
  sConfig.IC1Selection = TIM_ICSELECTION_DIRECTTI;
  sConfig.IC1Prescaler = TIM_ICPSC_DIV1;
  sConfig.IC1Filter = 0;
  sConfig.IC2Polarity = TIM_ICPOLARITY_RISING;
  sConfig.IC2Selection = TIM_ICSELECTION_DIRECTTI;
  sConfig.IC2Prescaler = TIM_ICPSC_DIV1;
  sConfig.IC2Filter = 0;
  if (HAL_TIM_Encoder_Init(&htim8, &sConfig) != HAL_OK)
  {
    Error_Handler();
  }
  sMasterConfig.MasterOutputTrigger = TIM_TRGO_RESET;
  sMasterConfig.MasterSlaveMode = TIM_MASTERSLAVEMODE_DISABLE;
  if (HAL_TIMEx_MasterConfigSynchronization(&htim8, &sMasterConfig) != HAL_OK)
  {
    Error_Handler();
  }

}

static void MX_TIM13_Init(void)
{

  htim13.Instance = TIM13;
  htim13.Init.Prescaler = 11;
  htim13.Init.CounterMode = TIM_COUNTERMODE_UP;
  htim13.Init.Period = 1124;
  htim13.Init.ClockDivision = TIM_CLOCKDIVISION_DIV1;
  htim13.Init.AutoReloadPreload = TIM_AUTORELOAD_PRELOAD_DISABLE;
  if (HAL_TIM_Base_Init(&htim13) != HAL_OK)
  {
    Error_Handler();
  }

}

static void MX_DMA_Init(void)
{

  /* DMA controller clock enable */
  __HAL_RCC_DMA2_CLK_ENABLE();
  __HAL_RCC_DMA1_CLK_ENABLE();

  /* DMA interrupt init */
  /* DMA1_Stream0_IRQn interrupt configuration */
  HAL_NVIC_SetPriority(DMA1_Stream0_IRQn, 5, 0);
  HAL_NVIC_EnableIRQ(DMA1_Stream0_IRQn);
  /* DMA1_Stream4_IRQn interrupt configuration */
  HAL_NVIC_SetPriority(DMA1_Stream4_IRQn, 15, 0);
  HAL_NVIC_EnableIRQ(DMA1_Stream4_IRQn);
  /* DMA1_Stream5_IRQn interrupt configuration */
  HAL_NVIC_SetPriority(DMA1_Stream5_IRQn, 5, 0);
  HAL_NVIC_EnableIRQ(DMA1_Stream5_IRQn);
  /* DMA2_Stream0_IRQn interrupt configuration */
  HAL_NVIC_SetPriority(DMA2_Stream0_IRQn, 2, 0);
  HAL_NVIC_EnableIRQ(DMA2_Stream0_IRQn);
  /* DMA2_Stream2_IRQn interrupt configuration */
  HAL_NVIC_SetPriority(DMA2_Stream2_IRQn, 2, 0);
  HAL_NVIC_EnableIRQ(DMA2_Stream2_IRQn);
  /* DMA2_Stream6_IRQn interrupt configuration */
  HAL_NVIC_SetPriority(DMA2_Stream6_IRQn, 15, 0);
  HAL_NVIC_EnableIRQ(DMA2_Stream6_IRQn);

}

static void MX_GPIO_Init(void)
{
  GPIO_InitTypeDef GPIO_InitStruct = {0};

  /* GPIO Ports Clock Enable */
  __HAL_RCC_GPIOC_CLK_ENABLE();
  __HAL_RCC_GPIOH_CLK_ENABLE();
  __HAL_RCC_GPIOA_CLK_ENABLE();
  __HAL_RCC_GPIOB_CLK_ENABLE();
  __HAL_RCC_GPIOD_CLK_ENABLE();

  /*Configure GPIO pin Output Level */
  HAL_GPIO_WritePin(SidemarkerPWR_GPIO_Port, SidemarkerPWR_Pin, GPIO_PIN_SET);

  /*Configure GPIO pin Output Level */
  HAL_GPIO_WritePin(GPIOC, MOTOR_DIR_L_Pin|GPIO_PIN_8, GPIO_PIN_RESET);

  /*Configure GPIO pin Output Level */
  HAL_GPIO_WritePin(MOTOR_DIR_R_GPIO_Port, MOTOR_DIR_R_Pin, GPIO_PIN_RESET);

  /*Configure GPIO pin Output Level */
  HAL_GPIO_WritePin(GPIOA, GPIO_PIN_11|GPIO_PIN_12, GPIO_PIN_SET);

  /*Configure GPIO pin Output Level */
  HAL_GPIO_WritePin(CS_MSD_GPIO_Port, CS_MSD_Pin, GPIO_PIN_SET);

  /*Configure GPIO pin Output Level */
  HAL_GPIO_WritePin(GPIOB, IMU_CSB2_Pin|IMU_CSB1_Pin, GPIO_PIN_SET);

  /*Configure GPIO pin : SIDEMARKER_L_Pin */
  GPIO_InitStruct.Pin = SIDEMARKER_L_Pin;
  GPIO_InitStruct.Mode = GPIO_MODE_INPUT;
  GPIO_InitStruct.Pull = GPIO_NOPULL;
  HAL_GPIO_Init(SIDEMARKER_L_GPIO_Port, &GPIO_InitStruct);

  /*Configure GPIO pins : SidemarkerPWR_Pin MOTOR_DIR_L_Pin PC8 */
  GPIO_InitStruct.Pin = SidemarkerPWR_Pin|MOTOR_DIR_L_Pin|GPIO_PIN_8;
  GPIO_InitStruct.Mode = GPIO_MODE_OUTPUT_PP;
  GPIO_InitStruct.Pull = GPIO_NOPULL;
  GPIO_InitStruct.Speed = GPIO_SPEED_FREQ_LOW;
  HAL_GPIO_Init(GPIOC, &GPIO_InitStruct);

  /*Configure GPIO pin : MOTOR_DIR_R_Pin */
  GPIO_InitStruct.Pin = MOTOR_DIR_R_Pin;
  GPIO_InitStruct.Mode = GPIO_MODE_OUTPUT_PP;
  GPIO_InitStruct.Pull = GPIO_NOPULL;
  GPIO_InitStruct.Speed = GPIO_SPEED_FREQ_LOW;
  HAL_GPIO_Init(MOTOR_DIR_R_GPIO_Port, &GPIO_InitStruct);

  /*Configure GPIO pin : SIDEMARKER_R_Pin */
  GPIO_InitStruct.Pin = SIDEMARKER_R_Pin;
  GPIO_InitStruct.Mode = GPIO_MODE_INPUT;
  GPIO_InitStruct.Pull = GPIO_NOPULL;
  HAL_GPIO_Init(SIDEMARKER_R_GPIO_Port, &GPIO_InitStruct);

  /*Configure GPIO pin : ButtonR_Pin */
  GPIO_InitStruct.Pin = ButtonR_Pin;
  GPIO_InitStruct.Mode = GPIO_MODE_INPUT;
  GPIO_InitStruct.Pull = GPIO_PULLUP;
  HAL_GPIO_Init(ButtonR_GPIO_Port, &GPIO_InitStruct);

  /*Configure GPIO pins : PA11 PA12 */
  GPIO_InitStruct.Pin = GPIO_PIN_11|GPIO_PIN_12;
  GPIO_InitStruct.Mode = GPIO_MODE_OUTPUT_PP;
  GPIO_InitStruct.Pull = GPIO_NOPULL;
  GPIO_InitStruct.Speed = GPIO_SPEED_FREQ_LOW;
  HAL_GPIO_Init(GPIOA, &GPIO_InitStruct);

  /*Configure GPIO pin : SD_SW_Pin */
  GPIO_InitStruct.Pin = SD_SW_Pin;
  GPIO_InitStruct.Mode = GPIO_MODE_INPUT;
  GPIO_InitStruct.Pull = GPIO_PULLDOWN;
  HAL_GPIO_Init(SD_SW_GPIO_Port, &GPIO_InitStruct);

  /*Configure GPIO pin : CS_MSD_Pin */
  GPIO_InitStruct.Pin = CS_MSD_Pin;
  GPIO_InitStruct.Mode = GPIO_MODE_OUTPUT_PP;
  GPIO_InitStruct.Pull = GPIO_NOPULL;
  GPIO_InitStruct.Speed = GPIO_SPEED_FREQ_VERY_HIGH;
  HAL_GPIO_Init(CS_MSD_GPIO_Port, &GPIO_InitStruct);

  /*Configure GPIO pins : IMU_CSB2_Pin IMU_CSB1_Pin */
  GPIO_InitStruct.Pin = IMU_CSB2_Pin|IMU_CSB1_Pin;
  GPIO_InitStruct.Mode = GPIO_MODE_OUTPUT_PP;
  GPIO_InitStruct.Pull = GPIO_PULLUP;
  GPIO_InitStruct.Speed = GPIO_SPEED_FREQ_VERY_HIGH;
  HAL_GPIO_Init(GPIOB, &GPIO_InitStruct);

  /*Configure GPIO pin : ButtonL_Pin */
  GPIO_InitStruct.Pin = ButtonL_Pin;
  GPIO_InitStruct.Mode = GPIO_MODE_INPUT;
  GPIO_InitStruct.Pull = GPIO_PULLUP;
  HAL_GPIO_Init(ButtonL_GPIO_Port, &GPIO_InitStruct);

}

/* USER CODE BEGIN 4 */
void HAL_ADC_ConvCpltCallback(ADC_HandleTypeDef *AdcHandle)
{
	if (AdcHandle->Instance == ADC1)
	{
		completeLineSensorAcquisition();
	}
	if (AdcHandle->Instance == ADC2)
	{
		getADC2();
	}
}

void HAL_TIM_PWM_PulseFinishedCallback(TIM_HandleTypeDef *htim)
{
	// PWM送信完了割り込み

	if(htim->Instance==TIM1){
		datasentflag = false;
	}
	if(htim->Instance==TIM3 && htim->Channel==HAL_TIM_ACTIVE_CHANNEL_3){
		lineSensorPhaseChanged(false);

	}
}

void HAL_TIM_PeriodElapsedCallback(TIM_HandleTypeDef *htim)
{
	// タイマ割り込み処理 更新イベント

	if(htim->Instance==TIM3)
	{
		lineSensorPhaseChanged(true);
  	}
	if (htim->Instance == TIM6)
	{
		Interrupt1ms();
	}
	if (htim->Instance == TIM7)
	{
		Interrupt500us();
	}

}

void HAL_TIM_OC_DelayElapsedCallback(TIM_HandleTypeDef *htim){
	// タイマ割り込み処理 比較一致イベント
    if(htim->Instance==TIM3 && htim->Channel==HAL_TIM_ACTIVE_CHANNEL_1){
		startLineSensorAcquisition();
    }
}
/////////////////////////////////////////////////////////////////////
// モジュール名 HAL_ADC_ErrorCallback
// 処理概要     ADC1の転送異常を記録し、古い取得結果の処理を禁止する
// 引数         hadc:異常が発生したADC
// 戻り値       なし
/////////////////////////////////////////////////////////////////////
void HAL_ADC_ErrorCallback(ADC_HandleTypeDef *hadc)
{
	if (hadc->Instance == ADC1) failLineSensorAcquisition();
}
/* I2Cメモリ転送完了割り込み */
void HAL_I2C_MemTxCpltCallback(I2C_HandleTypeDef *hi2c)
{
	ssd1306_I2C_MemTxCpltCallback(hi2c); // SSD1306のDMA完了処理へ委譲
}

int _write(int file, char *ptr, int len)
{
	int DataIdx;
	for (DataIdx = 0; DataIdx < len; DataIdx++)
	{
		ITM_SendChar(*ptr++);
	}
	return len;
}
/* USER CODE END 4 */

void Error_Handler(void)
{
  /* USER CODE BEGIN Error_Handler_Debug */
	motorCommandOut(0,0);
	/* User can add his own implementation to report the HAL error return state */
	__disable_irq();
	while (1)
	{
	}
  /* USER CODE END Error_Handler_Debug */
}
